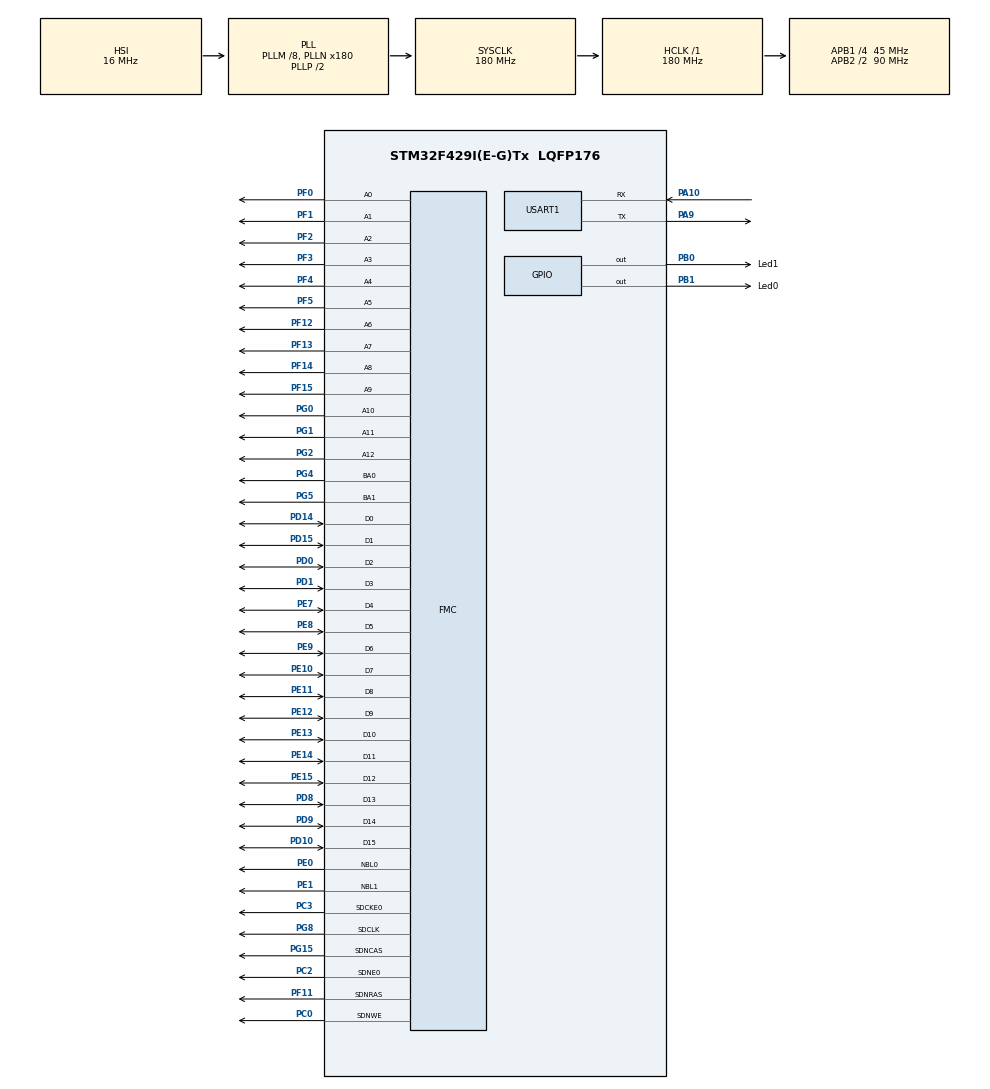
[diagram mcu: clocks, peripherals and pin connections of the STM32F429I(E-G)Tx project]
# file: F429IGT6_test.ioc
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FMC.CASLatency1=FMC_SDRAM_CAS_LATENCY_2
FMC.ColumnBitsNumber1=FMC_SDRAM_COLUMN_BITS_NUM_9
FMC.ExitSelfRefreshDelay1=8
FMC.LoadToActiveDelay1=2
FMC.RCDDelay1=2
FMC.RPDelay1=2
FMC.RPDelay2=2
FMC.ReadBurst1=FMC_SDRAM_RBURST_ENABLE
FMC.ReadBurst2=FMC_SDRAM_RBURST_ENABLE
FMC.RowCycleDelay1=6
FMC.RowCycleDelay2=6
FMC.SDClockPeriod1=FMC_SDRAM_CLOCK_PERIOD_2
FMC.SDClockPeriod2=FMC_SDRAM_CLOCK_PERIOD_2
FMC.SelfRefreshTime1=6
FMC.WriteProtection1=FMC_SDRAM_WRITE_PROTECTION_DISABLE
FMC.WriteRecoveryTime1=4
Mcu.Family=STM32F4
Mcu.Name=STM32F429I(E-G)Tx
Mcu.Package=LQFP176
NVIC.PriorityGroup=NVIC_PRIORITYGROUP_4
NVIC.USART1_IRQn=true\:0\:0\:false\:false\:true\:true\:true\:true
PA10.Mode=Asynchronous
PA10.Signal=USART1_RX
PA9.Mode=Asynchronous
PA9.Signal=USART1_TX
PB0.GPIO_Label=Led1
PB0.GPIO_PuPd=GPIO_PULLUP
PB0.GPIO_Speed=GPIO_SPEED_FREQ_LOW
PB0.Signal=GPIO_Output
PB1.GPIO_Label=Led0
PB1.GPIO_PuPd=GPIO_PULLUP
PB1.GPIO_Speed=GPIO_SPEED_FREQ_LOW
PB1.Signal=GPIO_Output
PC0.Signal=FMC_SDNWE
PC2.Mode=SdramChipSelect1_1
PC2.Signal=FMC_SDNE0
PC3.Mode=SdramChipSelect1_1
PC3.Signal=FMC_SDCKE0
PD0.Signal=FMC_D2_DA2
PD1.Signal=FMC_D3_DA3
PD10.Signal=FMC_D15_DA15
PD14.Signal=FMC_D0_DA0
PD15.Signal=FMC_D1_DA1
PD8.Signal=FMC_D13_DA13
PD9.Signal=FMC_D14_DA14
PE0.Signal=FMC_NBL0
PE1.Signal=FMC_NBL1
PE10.Signal=FMC_D7_DA7
PE11.Signal=FMC_D8_DA8
PE12.Signal=FMC_D9_DA9
PE13.Signal=FMC_D10_DA10
PE14.Signal=FMC_D11_DA11
PE15.Signal=FMC_D12_DA12
PE7.Signal=FMC_D4_DA4
PE8.Signal=FMC_D5_DA5
PE9.Signal=FMC_D6_DA6
PF0.Signal=FMC_A0
PF1.Signal=FMC_A1
PF11.Signal=FMC_SDNRAS
PF12.Signal=FMC_A6
PF13.Signal=FMC_A7
PF14.Signal=FMC_A8
PF15.Signal=FMC_A9
PF2.Signal=FMC_A2
PF3.Signal=FMC_A3
PF4.Signal=FMC_A4
PF5.Signal=FMC_A5
PG0.Signal=FMC_A10
PG1.Signal=FMC_A11
PG15.Signal=FMC_SDNCAS
PG2.Signal=FMC_A12
PG4.Signal=FMC_A14_BA0
PG5.Signal=FMC_A15_BA1
PG8.Signal=FMC_SDCLK
PH0/OSC_IN.Mode=HSE-External-Oscillator
PH0/OSC_IN.Signal=RCC_OSC_IN
PH1/OSC_OUT.Mode=HSE-External-Oscillator
PH1/OSC_OUT.Signal=RCC_OSC_OUT
ProjectManager.HeapSize=0x200
ProjectManager.StackSize=0x400
ProjectManager.TargetToolchain=MDK-ARM V5.32
RCC.48MHZClocksFreq_Value=90000000
RCC.AHBFreq_Value=180000000
RCC.APB1CLKDivider=RCC_HCLK_DIV4
RCC.APB1Freq_Value=45000000
RCC.APB1TimFreq_Value=90000000
RCC.APB2CLKDivider=RCC_HCLK_DIV2
RCC.APB2Freq_Value=90000000
RCC.APB2TimFreq_Value=180000000
RCC.CortexFreq_Value=22500000
RCC.Cortex_Div=SYSTICK_CLKSOURCE_HCLK_DIV8
RCC.HCLKFreq_Value=180000000
RCC.HSE_VALUE=25000000
RCC.HSI_VALUE=16000000
RCC.LSE_VALUE=32768
RCC.PLLM=8
RCC.PLLN=180
RCC.SYSCLKFreq_VALUE=180000000
RCC.SYSCLKSource=RCC_SYSCLKSOURCE_PLLCLK
RCC.VCOOutputFreq_Value=360000000
SH.FMC_A0.0=FMC_A0,13b-sda1
SH.FMC_A1.0=FMC_A1,13b-sda1
SH.FMC_A10.0=FMC_A10,13b-sda1
SH.FMC_A11.0=FMC_A11,13b-sda1
SH.FMC_A12.0=FMC_A12,13b-sda1
SH.FMC_A14_BA0.0=FMC_BA0,FourSdramBanks1
SH.FMC_A15_BA1.0=FMC_BA1,FourSdramBanks1
SH.FMC_A2.0=FMC_A2,13b-sda1
SH.FMC_A3.0=FMC_A3,13b-sda1
SH.FMC_A4.0=FMC_A4,13b-sda1
SH.FMC_A5.0=FMC_A5,13b-sda1
SH.FMC_A6.0=FMC_A6,13b-sda1
SH.FMC_A7.0=FMC_A7,13b-sda1
SH.FMC_A8.0=FMC_A8,13b-sda1
SH.FMC_A9.0=FMC_A9,13b-sda1
SH.FMC_D0_DA0.0=FMC_D0,sd-16b-d1
SH.FMC_D10_DA10.0=FMC_D10,sd-16b-d1
SH.FMC_D11_DA11.0=FMC_D11,sd-16b-d1
SH.FMC_D12_DA12.0=FMC_D12,sd-16b-d1
SH.FMC_D13_DA13.0=FMC_D13,sd-16b-d1
SH.FMC_D14_DA14.0=FMC_D14,sd-16b-d1
SH.FMC_D15_DA15.0=FMC_D15,sd-16b-d1
SH.FMC_D1_DA1.0=FMC_D1,sd-16b-d1
SH.FMC_D2_DA2.0=FMC_D2,sd-16b-d1
SH.FMC_D3_DA3.0=FMC_D3,sd-16b-d1
SH.FMC_D4_DA4.0=FMC_D4,sd-16b-d1
SH.FMC_D5_DA5.0=FMC_D5,sd-16b-d1
SH.FMC_D6_DA6.0=FMC_D6,sd-16b-d1
SH.FMC_D7_DA7.0=FMC_D7,sd-16b-d1
SH.FMC_D8_DA8.0=FMC_D8,sd-16b-d1
SH.FMC_D9_DA9.0=FMC_D9,sd-16b-d1
SH.FMC_NBL0.0=FMC_NBL0,Sd2ByteEnable1
SH.FMC_NBL1.0=FMC_NBL1,Sd2ByteEnable1
SH.FMC_SDCLK.0=FMC_SDCLK,13b-sda1
SH.FMC_SDNCAS.0=FMC_SDNCAS,13b-sda1
SH.FMC_SDNRAS.0=FMC_SDNRAS,13b-sda1
SH.FMC_SDNWE.0=FMC_SDNWE,13b-sda1
USART1.VirtualMode=VM_ASYNC
board=custom

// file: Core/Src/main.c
/* USER CODE BEGIN Header */
/**
 ******************************************************************************
 * @file           : main.c
 * @brief          : Main program body
 ******************************************************************************
 * @attention
 *
 * Copyright (c) 2022 STMicroelectronics.
 * All rights reserved.
 *
 * This software is licensed under terms that can be found in the LICENSE file
 * in the root directory of this software component.
 * If no LICENSE file comes with this software, it is provided AS-IS.
 *
 ******************************************************************************
 */
/* USER CODE END Header */
#include "main.h"
#include "usart.h"
#include "gpio.h"
#include "fmc.h"

/* USER CODE BEGIN Includes */
#include <stdio.h>
/* USER CODE END Includes */

/* USER CODE BEGIN PV */
uint16_t testsram[250000] __attribute__((at(0XC0000000))); //测试用数�?

// SDRAM内存测试
void fsmc_sdram_test()
{
  __IO uint32_t i = 0;
  __IO uint32_t temp = 0;
  __IO uint32_t sval = 0; //在地�?0读到的数�?

  //每隔16K字节,写入�?个数�?,总共写入2048个数�?,刚好�?32M字节
  for (i = 0; i < 32 * 1024 * 1024; i += 16 * 1024)
  {
    *(__IO uint32_t *)(SDRAM_BANK_ADDR + i) = temp;
    temp++;
  }
  //依次读出之前写入的数�?,进行校验
  for (i = 0; i < 32 * 1024 * 1024; i += 16 * 1024)
  {
    temp = *(__IO uint32_t *)(SDRAM_BANK_ADDR + i);
    if (i == 0)
      sval = temp;
    else if (temp <= sval)
      break;                                                             //后面读出的数据一定要比第�?次读到的数据�?.
    printf("SDRAM Capacity:%dKB\r\n", (uint16_t)(temp - sval + 1) * 16); //打印SDRAM容量
  }
}

/* USER CODE END PV */

void SystemClock_Config(void);

int main(void)
{

  /* MCU Configuration--------------------------------------------------------*/

  /* Reset of all peripherals, Initializes the Flash interface and the Systick. */
  HAL_Init();

  /* Configure the system clock */
  SystemClock_Config();

  /* Initialize all configured peripherals */
  MX_GPIO_Init();
  MX_USART1_UART_Init();
  MX_FMC_Init();
  /* USER CODE BEGIN 2 */
  LED0_OFF;
  LED1_OFF;

  uint32_t ts = 0;
  for (ts = 0; ts < 250000; ts++)
  {
    testsram[ts] = ts; //预存测试数据
  }
  HAL_Delay(2000);
  fsmc_sdram_test();
  HAL_Delay(2000);

  for (ts = 0; ts < 250000; ts++)
  {
    printf("testsram[%d]:%d\r\n", ts, testsram[ts]); //打印SDRAM数据
  }

  /* USER CODE END 2 */

  /* Infinite loop */
  while (1)
  {

  }
}

void SystemClock_Config(void)
{
  RCC_OscInitTypeDef RCC_OscInitStruct = {0};
  RCC_ClkInitTypeDef RCC_ClkInitStruct = {0};

  /** Configure the main internal regulator output voltage
  */
  __HAL_RCC_PWR_CLK_ENABLE();
  __HAL_PWR_VOLTAGESCALING_CONFIG(PWR_REGULATOR_VOLTAGE_SCALE1);

  /** Initializes the RCC Oscillators according to the specified parameters
  * in the RCC_OscInitTypeDef structure.
  */
  RCC_OscInitStruct.OscillatorType = RCC_OSCILLATORTYPE_HSI;
  RCC_OscInitStruct.HSIState = RCC_HSI_ON;
  RCC_OscInitStruct.HSICalibrationValue = RCC_HSICALIBRATION_DEFAULT;
  RCC_OscInitStruct.PLL.PLLState = RCC_PLL_ON;
  RCC_OscInitStruct.PLL.PLLSource = RCC_PLLSOURCE_HSI;
  RCC_OscInitStruct.PLL.PLLM = 8;
  RCC_OscInitStruct.PLL.PLLN = 180;
  RCC_OscInitStruct.PLL.PLLP = RCC_PLLP_DIV2;
  RCC_OscInitStruct.PLL.PLLQ = 4;
  if (HAL_RCC_OscConfig(&RCC_OscInitStruct) != HAL_OK)
  {
    Error_Handler();
  }

  /** Activate the Over-Drive mode
  */
  if (HAL_PWREx_EnableOverDrive() != HAL_OK)
  {
    Error_Handler();
  }

  /** Initializes the CPU, AHB and APB buses clocks
  */
  RCC_ClkInitStruct.ClockType = RCC_CLOCKTYPE_HCLK|RCC_CLOCKTYPE_SYSCLK
                              |RCC_CLOCKTYPE_PCLK1|RCC_CLOCKTYPE_PCLK2;
  RCC_ClkInitStruct.SYSCLKSource = RCC_SYSCLKSOURCE_PLLCLK;
  RCC_ClkInitStruct.AHBCLKDivider = RCC_SYSCLK_DIV1;
  RCC_ClkInitStruct.APB1CLKDivider = RCC_HCLK_DIV4;
  RCC_ClkInitStruct.APB2CLKDivider = RCC_HCLK_DIV2;

  if (HAL_RCC_ClockConfig(&RCC_ClkInitStruct, FLASH_LATENCY_5) != HAL_OK)
  {
    Error_Handler();
  }
}

void Error_Handler(void)
{
  __disable_irq();
  while (1)
  {
  }
}
